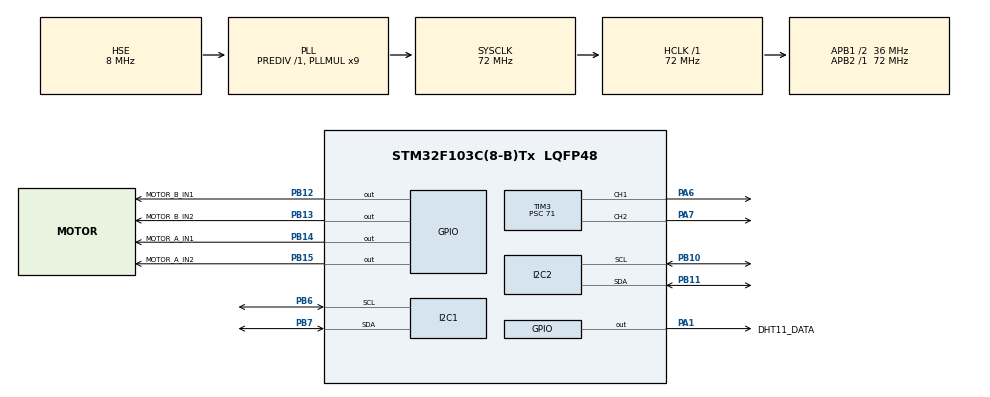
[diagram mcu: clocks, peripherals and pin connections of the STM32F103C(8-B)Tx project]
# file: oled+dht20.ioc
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I2C1.I2C_Mode=I2C_Fast
Mcu.Family=STM32F1
Mcu.Name=STM32F103C(8-B)Tx
Mcu.Package=LQFP48
NVIC.PriorityGroup=NVIC_PRIORITYGROUP_4
PA1.GPIO_Label=DHT11_DATA
PA1.PinState=GPIO_PIN_SET
PA1.Signal=GPIO_Output
PA13.Mode=Serial_Wire
PA13.Signal=SYS_JTMS-SWDIO
PA14.Mode=Serial_Wire
PA14.Signal=SYS_JTCK-SWCLK
PA6.Signal=S_TIM3_CH1
PA7.Signal=S_TIM3_CH2
PB10.Mode=I2C
PB10.Signal=I2C2_SCL
PB11.Mode=I2C
PB11.Signal=I2C2_SDA
PB12.GPIO_Label=MOTOR_B_IN1
PB12.Signal=GPIO_Output
PB13.GPIO_Label=MOTOR_B_IN2
PB13.Signal=GPIO_Output
PB14.GPIO_Label=MOTOR_A_IN1
PB14.Signal=GPIO_Output
PB15.GPIO_Label=MOTOR_A_IN2
PB15.Signal=GPIO_Output
PB6.Mode=I2C
PB6.Signal=I2C1_SCL
PB7.Mode=I2C
PB7.Signal=I2C1_SDA
PD0-OSC_IN.Mode=HSE-External-Oscillator
PD0-OSC_IN.Signal=RCC_OSC_IN
PD1-OSC_OUT.Mode=HSE-External-Oscillator
PD1-OSC_OUT.Signal=RCC_OSC_OUT
ProjectManager.HeapSize=0x200
ProjectManager.StackSize=0x400
ProjectManager.TargetToolchain=MDK-ARM V5.32
RCC.AHBFreq_Value=72000000
RCC.APB1CLKDivider=RCC_HCLK_DIV2
RCC.APB1Freq_Value=36000000
RCC.APB1TimFreq_Value=72000000
RCC.APB2Freq_Value=72000000
RCC.APB2TimFreq_Value=72000000
RCC.HCLKFreq_Value=72000000
RCC.PLLMUL=RCC_PLL_MUL9
RCC.PLLSourceVirtual=RCC_PLLSOURCE_HSE
RCC.SYSCLKFreq_VALUE=72000000
RCC.SYSCLKSource=RCC_SYSCLKSOURCE_PLLCLK
RCC.USBFreq_Value=72000000
SH.S_TIM3_CH1.0=TIM3_CH1,PWM Generation1 CH1
SH.S_TIM3_CH2.0=TIM3_CH2,PWM Generation2 CH2
TIM1.Prescaler=71
TIM3.AutoReloadPreload=TIM_AUTORELOAD_PRELOAD_ENABLE
TIM3.Channel-PWM\ Generation1\ CH1=TIM_CHANNEL_1
TIM3.Channel-PWM\ Generation2\ CH2=TIM_CHANNEL_2
TIM3.Period=999
TIM3.Prescaler=71
VP_TIM1_VS_ClockSourceINT.Mode=Internal
board=custom

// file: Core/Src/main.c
/* USER CODE BEGIN Header */
/**
  ******************************************************************************
  * @file           : main.c
  * @brief          : Main program body
  ******************************************************************************
  * @attention
  *
  * Copyright (c) 2025 STMicroelectronics.
  * All rights reserved.
  *
  * This software is licensed under terms that can be found in the LICENSE file
  * in the root directory of this software component.
  * If no LICENSE file comes with this software, it is provided AS-IS.
  *
  ******************************************************************************
  */
/* USER CODE END Header */
#include "main.h"
#include "i2c.h"
#include "tim.h"
#include "gpio.h"

/* USER CODE BEGIN Includes */
#include "oled.h"
#include "dht11.h"
#include "stdio.h"

/* USER CODE END Includes */

void SystemClock_Config(void);

int main(void)
{

  /* MCU Configuration--------------------------------------------------------*/

  /* Reset of all peripherals, Initializes the Flash interface and the Systick. */
  HAL_Init();

  /* Configure the system clock */
  SystemClock_Config();

  /* Initialize all configured peripherals */
  MX_GPIO_Init();
  MX_I2C1_Init();
  MX_TIM1_Init();
  MX_TIM3_Init();
  MX_I2C2_Init();
  /* USER CODE BEGIN 2 */
	HAL_Delay(20);
	OLED_Init();
	DHT11_Init();

	float temperature,humidity;
	char message[50];
  /* USER CODE END 2 */

  /* Infinite loop */
  /* USER CODE BEGIN WHILE */
  while (1)
  {
//		DHT11_Measure();
//		temperature = DHT11_Temperature();
//		humidity = DHT11_Humidity();
//		float temp, humi;
		HAL_StatusTypeDef status = DHT11_Measure(); // 调用测量函数并保存返回�??
		OLED_NewFrame();

if (status == HAL_OK)
{
    // 测量成功，获取并显示温湿�?
    temperature = DHT11_Temperature();
    humidity = DHT11_Humidity();

    OLED_DrawImage(10,0,&temperatureImg,OLED_COLOR_NORMAL);
    sprintf(message, "%.1f c", temperature);
    OLED_PrintString(45, 8, message, &font16x16, OLED_COLOR_NORMAL);

    OLED_DrawImage(10,32,&humidityImg,OLED_COLOR_NORMAL);
    sprintf(message, "%.1f %%", humidity);
    OLED_PrintString(45, 40, message, &font16x16, OLED_COLOR_NORMAL);
}
else if (status == HAL_TIMEOUT)
{
    // 传感器无响应
    OLED_PrintString(0, 0, "Sensor", &font16x16, OLED_COLOR_NORMAL);
    OLED_PrintString(0, 18, "Timeout!", &font16x16, OLED_COLOR_NORMAL);
}
else // HAL_ERROR
{
    // 数据校验失败
    OLED_PrintString(0, 0, "Data Check", &font16x16, OLED_COLOR_NORMAL);
    OLED_PrintString(0, 18, "Error!", &font16x16, OLED_COLOR_NORMAL);
}

OLED_ShowFrame(); // 将缓冲区内容显示到屏�?

HAL_Delay(2000); // 延时2秒再进行下一次测�?
    /* USER CODE END WHILE */

  }
}

void SystemClock_Config(void)
{
  RCC_OscInitTypeDef RCC_OscInitStruct = {0};
  RCC_ClkInitTypeDef RCC_ClkInitStruct = {0};

  /** Initializes the RCC Oscillators according to the specified parameters
  * in the RCC_OscInitTypeDef structure.
  */
  RCC_OscInitStruct.OscillatorType = RCC_OSCILLATORTYPE_HSE;
  RCC_OscInitStruct.HSEState = RCC_HSE_ON;
  RCC_OscInitStruct.HSEPredivValue = RCC_HSE_PREDIV_DIV1;
  RCC_OscInitStruct.HSIState = RCC_HSI_ON;
  RCC_OscInitStruct.PLL.PLLState = RCC_PLL_ON;
  RCC_OscInitStruct.PLL.PLLSource = RCC_PLLSOURCE_HSE;
  RCC_OscInitStruct.PLL.PLLMUL = RCC_PLL_MUL9;
  if (HAL_RCC_OscConfig(&RCC_OscInitStruct) != HAL_OK)
  {
    Error_Handler();
  }

  /** Initializes the CPU, AHB and APB buses clocks
  */
  RCC_ClkInitStruct.ClockType = RCC_CLOCKTYPE_HCLK|RCC_CLOCKTYPE_SYSCLK
                              |RCC_CLOCKTYPE_PCLK1|RCC_CLOCKTYPE_PCLK2;
  RCC_ClkInitStruct.SYSCLKSource = RCC_SYSCLKSOURCE_PLLCLK;
  RCC_ClkInitStruct.AHBCLKDivider = RCC_SYSCLK_DIV1;
  RCC_ClkInitStruct.APB1CLKDivider = RCC_HCLK_DIV2;
  RCC_ClkInitStruct.APB2CLKDivider = RCC_HCLK_DIV1;

  if (HAL_RCC_ClockConfig(&RCC_ClkInitStruct, FLASH_LATENCY_2) != HAL_OK)
  {
    Error_Handler();
  }
}

void Error_Handler(void)
{
  __disable_irq();
  while (1)
  {
  }
}
